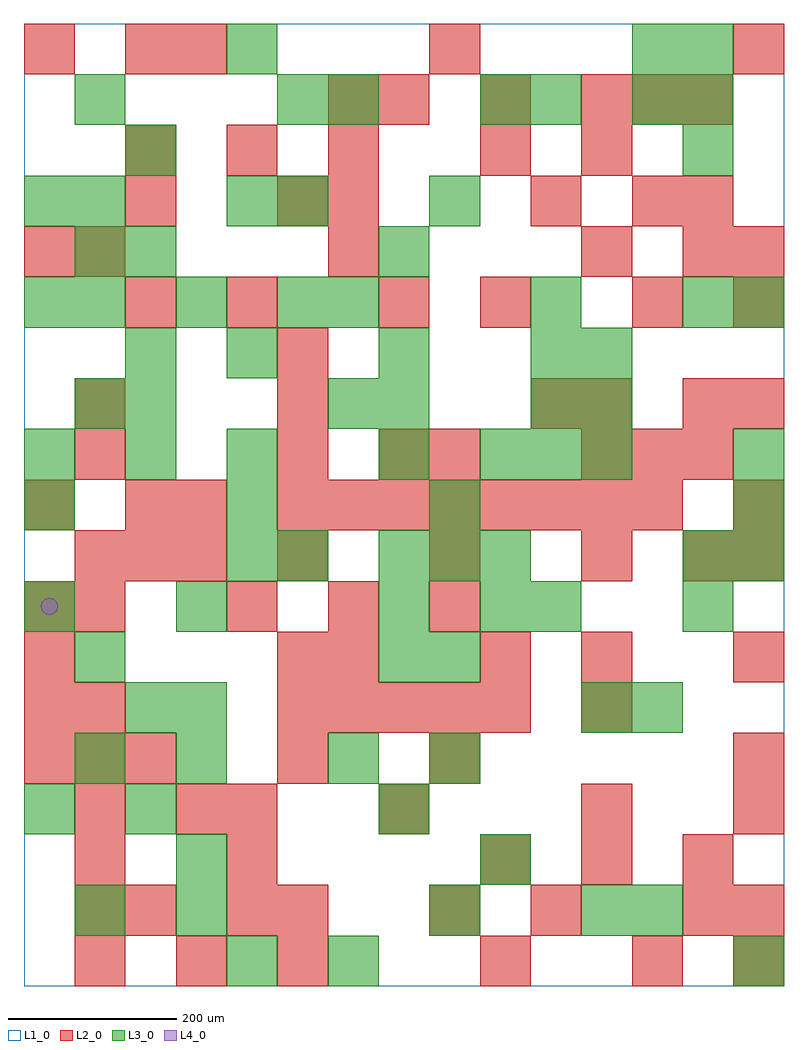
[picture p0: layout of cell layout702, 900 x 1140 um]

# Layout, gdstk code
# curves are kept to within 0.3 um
import gdstk
lib = gdstk.Library(unit=1e-6, precision=1e-09)
def R(c, l, rs):  # rectangles x0, y0, x1, y1
    for r in rs: c.add(gdstk.rectangle(r[:2], r[2:], *l))
def A(c, l, x, y, w, h, nx, ny, dx, dy):  # array of equal rectangles
    R(c, l, [(x+i*dx, y+j*dy, x+i*dx+w, y+j*dy+h) for i in range(nx) for j in range(ny)])
def P(c, l, *ps):  # polygons
    for p in ps: c.add(gdstk.Polygon(p, *l))
L1_0 = (1, 0)
L2_0 = (2, 0)
L3_0 = (3, 0)
L4_0 = (4, 0)

layout702 = lib.new_cell('layout702')
R(layout702, L1_0, [(0,0,900,1140)])
A(layout702, L2_0, 60, 0, 60, 60, 3, 1, 120, 0)
A(layout702, L2_0, 60, 60, 60, 60, 1, 3, 0, 60)
A(layout702, L2_0, 240, 60, 60, 60, 1, 3, 0, 60)
A(layout702, L2_0, 540, 120, 60, 60, 3, 1, 120, 0)
A(layout702, L2_0, 0, 240, 60, 60, 3, 1, 60, 0)
A(layout702, L2_0, 840, 240, 60, 60, 1, 3, 0, 120)
A(layout702, L2_0, 0, 300, 60, 60, 1, 3, 0, 60)
A(layout702, L2_0, 300, 300, 60, 60, 5, 1, 60, 0)
A(layout702, L2_0, 660, 360, 60, 60, 1, 3, 0, 300)
A(layout702, L2_0, 240, 420, 60, 60, 3, 1, 120, 0)
A(layout702, L2_0, 60, 480, 60, 60, 3, 1, 60, 0)
A(layout702, L2_0, 300, 480, 60, 60, 3, 1, 180, 0)
A(layout702, L2_0, 780, 480, 60, 60, 1, 3, 0, 180)
A(layout702, L2_0, 300, 540, 60, 60, 8, 1, 60, 0)
A(layout702, L2_0, 840, 540, 60, 60, 1, 3, 0, 120)
A(layout702, L2_0, 300, 600, 60, 60, 1, 3, 0, 60)
A(layout702, L2_0, 660, 600, 60, 60, 3, 1, 60, 0)
A(layout702, L2_0, 720, 780, 60, 60, 1, 3, 0, 120)
A(layout702, L2_0, 60, 840, 60, 60, 3, 1, 300, 0)
A(layout702, L2_0, 120, 960, 60, 60, 3, 1, 120, 0)
A(layout702, L2_0, 420, 1020, 60, 60, 3, 1, 120, 0)
R(layout702, L2_0, [(540,0,600,60), (720,0,780,60), (840,0,900,60), (120,60,180,120), (300,60,360,120), (480,60,540,120), (600,60,660,120), (780,60,840,120), (840,60,900,120), (180,180,240,240), (420,180,480,240), (660,180,720,240), (840,180,900,240), (300,240,360,300), (480,240,540,300), (60,300,120,360), (660,300,720,360), (300,360,360,420), (360,360,420,420), (540,360,600,420), (60,420,120,480), (0,540,60,600), (120,540,180,600), (180,540,240,600), (60,600,120,660), (420,600,480,660), (480,600,540,660), (60,660,120,720), (600,660,660,720), (120,780,180,840), (240,780,300,840), (420,780,480,840), (540,780,600,840), (0,840,60,900), (840,840,900,900), (120,900,180,960), (300,900,360,960), (360,900,420,960), (600,900,660,960), (780,900,840,960), (540,960,600,1020), (360,1020,420,1080), (780,1020,840,1080), (0,1080,60,1140), (120,1080,180,1140), (180,1080,240,1140), (480,1080,540,1140), (840,1080,900,1140)])
A(layout702, L3_0, 420, 480, 60, 60, 3, 1, 60, 0)
A(layout702, L3_0, 840, 480, 60, 60, 1, 3, 0, 60)
A(layout702, L3_0, 0, 540, 60, 60, 3, 1, 240, 0)
A(layout702, L3_0, 0, 600, 60, 60, 3, 1, 120, 0)
A(layout702, L3_0, 540, 600, 60, 60, 3, 1, 60, 0)
A(layout702, L3_0, 120, 720, 60, 60, 1, 3, 0, 120)
A(layout702, L3_0, 240, 720, 60, 60, 3, 1, 180, 0)
A(layout702, L3_0, 60, 780, 60, 60, 3, 1, 120, 0)
A(layout702, L3_0, 780, 960, 60, 60, 1, 3, 0, 60)
R(layout702, L3_0, [(240,0,300,60), (360,0,420,60), (840,0,900,60), (60,60,120,120), (180,60,240,120), (480,60,540,120), (660,60,720,120), (720,60,780,120), (180,120,240,180), (540,120,600,180), (0,180,60,240), (120,180,180,240), (420,180,480,240), (60,240,120,300), (180,240,240,300), (360,240,420,300), (480,240,540,300), (120,300,180,360), (180,300,240,360), (660,300,720,360), (720,300,780,360), (60,360,120,420), (420,360,480,420), (480,360,540,420), (0,420,60,480), (180,420,240,480), (420,420,480,480), (540,420,600,480), (600,420,660,480), (780,420,840,480), (240,480,300,540), (300,480,360,540), (780,480,840,540), (420,600,480,660), (60,660,120,720), (120,660,180,720), (360,660,420,720), (420,660,480,720), (600,660,660,720), (660,660,720,720), (660,720,720,780), (0,780,60,840), (360,780,420,840), (600,780,660,840), (780,780,840,840), (840,780,900,840), (60,840,120,900), (420,840,480,900), (0,900,60,960), (60,900,120,960), (240,900,300,960), (300,900,360,960), (480,900,540,960), (60,1020,120,1080), (300,1020,360,1080), (360,1020,420,1080), (540,1020,600,1080), (600,1020,660,1080), (720,1020,780,1080), (240,1080,300,1140), (720,1080,780,1140)])
P(layout702, L4_0, [(40,450),(39.239,453.827),(37.071,457.071),(33.827,459.239),(30,460),(26.173,459.239),(22.929,457.071),(20.761,453.827),(20,450),(20.761,446.173),(22.929,442.929),(26.173,440.761),(30,440),(33.827,440.761),(37.071,442.929),(39.239,446.173)])

lib.write_gds('layout702.gds')
